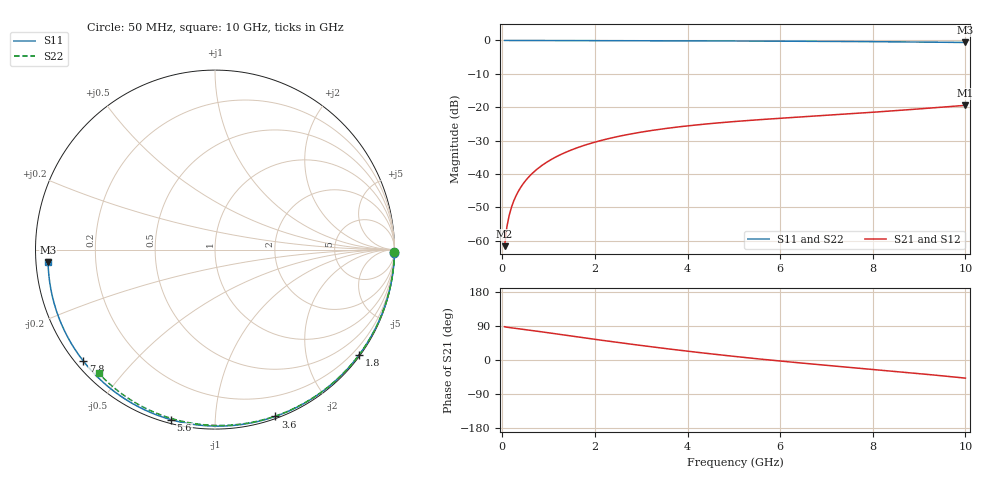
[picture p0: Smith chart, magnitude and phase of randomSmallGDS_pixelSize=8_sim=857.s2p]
! freq	dB(S11)	phase(S11)	dB(S12)	phase(S12)
!  dB(S21)	phase(S21)	dB(S22)	phase(S22)
!S-par simulation data
#  GHz  S  DB  R 50
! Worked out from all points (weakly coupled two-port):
!   200 points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, 50 MHz to 10 GHz, reference 50 ohm
!   highest |S21| = -19.43 dB at 10 GHz (marker M1); lowest = -61.6 dB at 50 MHz (marker M2)
!   lowest |S11| = -0.6 dB at 10 GHz (marker M3), VSWR 28.67, Z = 1.75 - j1.9 ohm
!   |S11| at or under -10 dB: nowhere
!   |S22| runs from -0.5 to 0.0 dB; largest |S21 - S12| = 0
!   S11 on the Smith chart (normalised r, x): 50 MHz: open; 1.8 GHz: 0.03, -3.06; 3.6 GHz: 0.02, -1.42; 5.6 GHz: 0.02, -0.77; 7.8 GHz: 0.02, -0.37; 10 GHz: 0.03, -0.04
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0.05  -0.00 -1.0  -61.58 87.8  -61.58 87.8  -0.00 -0.8
0.1  -0.00 -2.1  -55.71 86.5  -55.71 86.5  -0.00 -1.6
0.15  -0.00 -3.1  -52.29 85.7  -52.29 85.7  -0.00 -2.4
0.2  -0.00 -4.1  -49.85 85.0  -49.85 85.0  -0.00 -3.1
0.35  -0.01 -7.2  -45.07 82.8  -45.07 82.8  -0.00 -5.5
0.5  -0.01 -10.2  -42.01 80.3  -42.01 80.3  -0.01 -7.8
0.7  -0.02 -14.3  -39.13 76.9  -39.13 76.9  -0.01 -10.9
1  -0.03 -20.4  -36.10 71.7  -36.10 71.7  -0.02 -15.6
1.35  -0.04 -27.4  -33.59 65.7  -33.59 65.7  -0.03 -20.9
1.75  -0.05 -35.3  -31.49 58.8  -31.49 58.8  -0.04 -27.0
1.8  -0.05 -36.2  -31.26 57.9  -31.26 57.9  -0.04 -27.8
2.6  -0.07 -51.6  -28.46 44.7  -28.46 44.7  -0.06 -39.7
3.4  -0.10 -66.5  -26.60 32.1  -26.60 32.1  -0.08 -51.3
3.6  -0.10 -70.1  -26.23 29.1  -26.23 29.1  -0.08 -54.1
4.3  -0.13 -82.5  -25.14 19.0  -25.14 19.0  -0.10 -63.9
5.05  -0.16 -95.4  -24.23 9.0  -24.23 9.0  -0.13 -74.0
5.6  -0.19 -104.5  -23.67 2.1  -23.67 2.1  -0.15 -81.1
6.7  -0.25 -122.3  -22.67 -10.7  -22.67 -10.7  -0.20 -95.0
7.8  -0.34 -139.7  -21.68 -22.7  -21.68 -22.7  -0.27 -108.2
8.35  -0.40 -148.4  -21.15 -28.7  -21.15 -28.7  -0.32 -114.6
9.2  -0.50 -162.2  -20.29 -38.3  -20.29 -38.3  -0.40 -124.3
10  -0.61 -175.6  -19.43 -47.8  -19.43 -47.8  -0.49 -133.4
